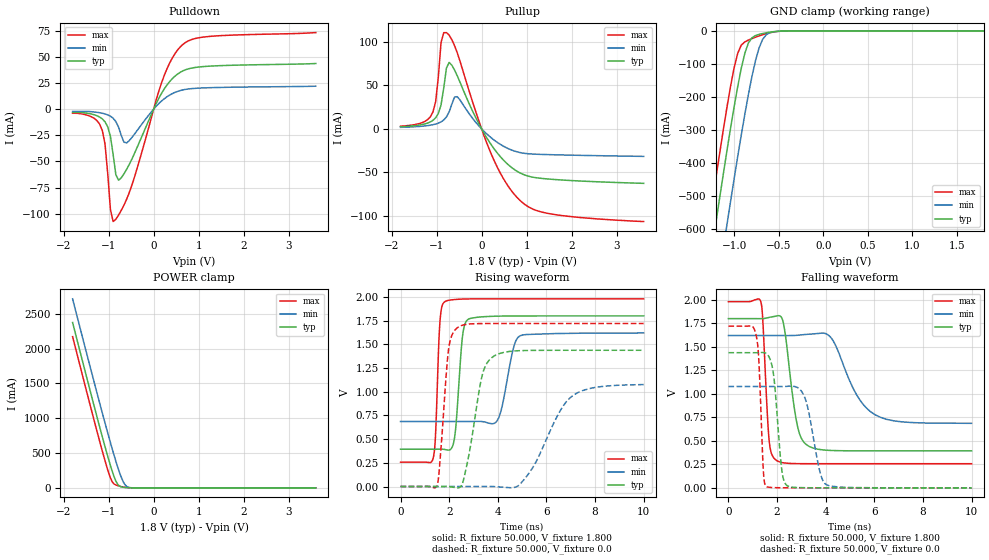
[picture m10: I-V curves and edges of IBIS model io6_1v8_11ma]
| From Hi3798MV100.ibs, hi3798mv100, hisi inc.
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|   Model io6_1v8_11ma
[Model] io6_1v8_11ma
Model_type I/O
Enable   Active-Low
C_comp   3.770pF   3.041pF   4.129pF
C_comp_pullup   2.232pF   1.789pF   2.429pF
C_comp_pulldown   1.360pF   1.144pF   1.448pF
[Temperature Range]   25.000   0.125k   -40.000
[Voltage Range]   1.800V   1.620V   1.980V
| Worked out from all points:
|   slope of the pulldown table from 0 to 0.27 V, typ, clamps not added: 12.6 ohm
|   slope of the pullup table from 0 to 0.27 V, typ, clamps not added: 12 ohm
|   GND clamp passes 1 mA (typ) near -0.49 V on its own axis
|   POWER clamp passes 1 mA (typ) near -0.53 V on its own axis
|   rising waveform, R_fixture 50.000, V_fixture 1.800: 20-80 % time 233ps typ, 417ps min, 147ps max; typ from 0.393 V to 1.8 V
|   rising waveform, R_fixture 50.000, V_fixture 0.0: 20-80 % time 562ps typ, 1.25ns min, 298ps max; typ from 0 V to 1.44 V
|   falling waveform, R_fixture 50.000, V_fixture 1.800: 20-80 % time 430ps typ, 1.05ns min, 200ps max; typ from 1.8 V to 0.393 V
|   falling waveform, R_fixture 50.000, V_fixture 0.0: 20-80 % time 271ps typ, 469ps min, 160ps max; typ from 1.44 V to 0 V
[Pulldown]
|Voltage   I(typ)   I(min)   I(max)
-1.8V     -3.29mA    -2.298mA   -3.964mA
-1.32V    -5.426mA   -2.755mA   -8.85mA
-1.14V    -9.359mA   -3.958mA   -20.47mA
-1.08V    -12.15mA   -4.612mA   -33.31mA
-960mV    -26.07mA   -6.785mA   -95.89mA
-900mV    -43.46mA   -8.725mA   -107.5mA
-840mV    -62.65mA   -11.87mA   -105.3mA
-720mV    -65.7mA    -25.12mA   -96.83mA
-600mV    -57.56mA   -32.31mA   -86.13mA
180mV     15.47mA    7.929mA    25.71mA
600mV     35.43mA    17.85mA    59.88mA
3.6V      43.57mA    21.89mA    73.15mA
[Pullup]
|Voltage   I(typ)   I(min)   I(max)
-1.8V     2.446mA    1.75mA     3.041mA
-1.32V    4.959mA    3.046mA    7.122mA
-1.08V    9.8mA      4.768mA    19.45mA
-1.02V    12.74mA    5.531mA    31.36mA
-900mV    27.62mA    8.027mA    99.65mA
-780mV    70.21mA    13.72mA    111mA
-720mV    76.57mA    19.59mA    108mA
-540mV    61.18mA    37.12mA    87.69mA
180mV     -15.66mA   -8.832mA   -24.73mA
840mV     -50.44mA   -27.18mA   -81.84mA
1.5V      -57.92mA   -29.74mA   -97.72mA
3.6V      -62.85mA   -31.75mA   -106.9mA
[GND_clamp]
|Voltage   I(typ)   I(min)   I(max)
-1.8V     -1.691A    -1.906A    -1.562A
-1.28V    -718.8mA   -945.3mA   -582.9mA
-1.2V     -573.8mA   -800.2mA   -438.1mA
-1.08V    -362.8mA   -586.8mA   -231.3mA
-1V       -230.6mA   -448.7mA   -112.1mA
-960mV    -169.4mA   -381.5mA   -68.27mA
-880mV    -68.26mA   -253.2mA   -33.53mA
-800mV    -21.15mA   -138.4mA   -23.47mA
-720mV    -10.71mA   -51.74mA   -15.27mA
-680mV    -8.059mA   -25.85mA   -11.7mA
-600mV    -4.119mA   -5.718mA   -5.884mA
1.8V      0A         0A         0A
[POWER_clamp]
|Voltage   I(typ)   I(min)   I(max)
-1.8V     2.376A     2.715A     2.172A
-1.2V     877.1mA    1.22A      670.4mA
-1.04V    498.6mA    836.2mA    300.3mA
-960mV    321mA      649.8mA    143.2mA
-920mV    238.2mA    558.8mA    86.5mA
-880mV    162.5mA    469.9mA    55.14mA
-800mV    51.19mA    300.9mA    32.23mA
-760mV    25.15mA    223.2mA    24.36mA
-680mV    8.367mA    92.98mA    12.8mA
-600mV    3.083mA    20.8mA     5.475mA
-400mV    50.2uA     121.8uA    62uA
3.6V      -21.96uA   -79.79nA   -43uA
[Ramp]
| variable   typ   min   max
dV/dt_r   0.862/0.565n   0.645/1.247n   1.032/0.299n
dV/dt_f   0.844/0.430n   0.560/1.046n   1.034/0.201n
R_load = 50.000
[Rising Waveform]
R_fixture= 50.000
V_fixture= 1.800
V_fixture_min= 1.620
V_fixture_max= 1.980
|time   V(typ)   V(min)   V(max)
0s        393.5mV    686mV      256.7mV
1.345ns   393.4mV    686mV      300.7mV
1.63ns    393.9mV    686mV      1.766V
1.847ns   389.3mV    686mV      1.954V
2.218ns   507.5mV    686mV      1.973V
2.538ns   1.559V     685.8mV    1.978V
2.758ns   1.76V      685.9mV    1.979V
3.981ns   1.797V     696.9mV    1.98V
4.911ns   1.8V       1.59V      1.98V
10ns      1.8V       1.62V      1.98V
[Rising Waveform]
R_fixture= 50.000
V_fixture= 0.0
V_fixture_min= 0.0
V_fixture_max= 0.0
|time   V(typ)   V(min)   V(max)
0s        176.1uV    0V         222.4uV
1.509ns   145.4uV    0V         16.96mV
1.974ns   -228.4uV   0V         1.443V
2.394ns   -13.53mV   6.128uV    1.685V
2.743ns   245.9mV    -3.273uV   1.712V
3.358ns   1.171V     213.2uV    1.719V
3.768ns   1.363V     14.07uV    1.72V
4.941ns   1.434V     31.89mV    1.72V
7.091ns   1.437V     959.8mV    1.72V
10ns      1.437V     1.076V     1.72V
[Falling Waveform]
R_fixture= 50.000
V_fixture= 1.800
V_fixture_min= 1.620
V_fixture_max= 1.980
|time   V(typ)   V(min)   V(max)
0s        1.8V       1.62V      1.98V
1.33ns    1.8V       1.62V      1.98V
1.673ns   1.813V     1.62V      506.9mV
1.992ns   1.829V     1.62V      289mV
2.253ns   1.76V      1.62V      266.9mV
2.793ns   716.6mV    1.622V     257.8mV
3.21ns    458.8mV    1.632V     256.9mV
4.192ns   398.2mV    1.605V     256.7mV
6.037ns   393.5mV    777mV      256.7mV
10ns      393.5mV    686.2mV    256.7mV
[Falling Waveform]
R_fixture= 50.000
V_fixture= 0.0
V_fixture_min= 0.0
V_fixture_max= 0.0
|time   V(typ)   V(min)   V(max)
0s        1.437V     1.078V     1.72V
1.133ns   1.437V     1.078V     1.629V
1.44ns    1.439V     1.078V     165.1mV
1.543ns   1.432V     1.078V     17.22mV
1.836ns   1.238V     1.078V     3.091mV
2.184ns   210.6mV    1.078V     892.8uV
2.414ns   23.01mV    1.08V      475.9uV
3.131ns   1.703mV    965.5mV    235.4uV
4.041ns   304.7uV    30.88mV    223uV
10ns      176.2uV    1.847uV    222.5uV
